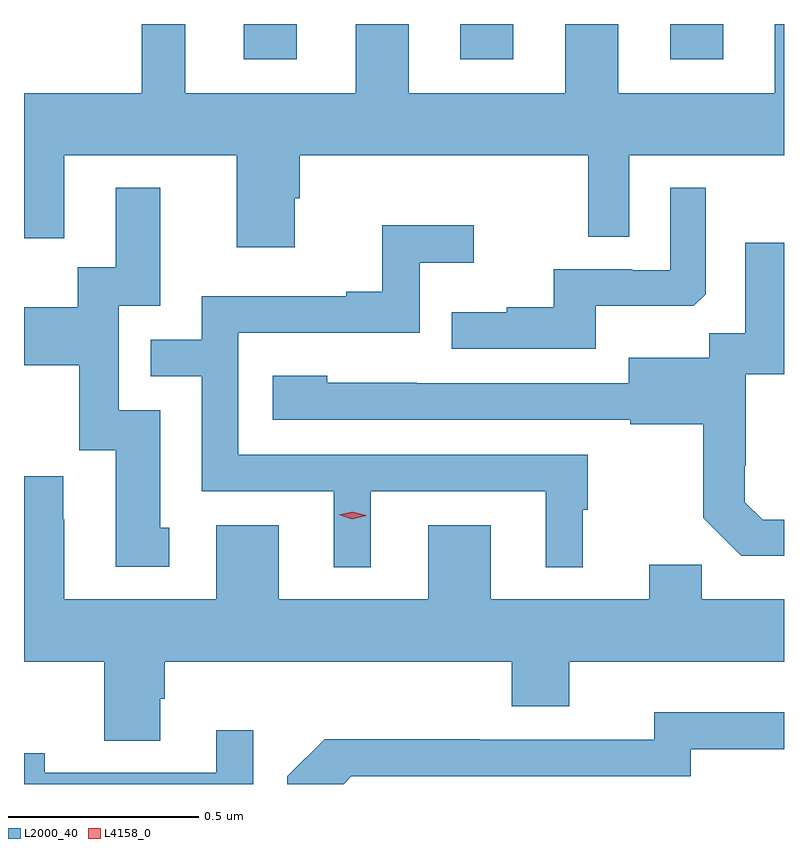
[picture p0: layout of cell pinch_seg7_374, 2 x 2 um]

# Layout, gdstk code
import gdstk
lib = gdstk.Library(unit=1e-6, precision=1e-09)
def R(c, l, rs):  # rectangles x0, y0, x1, y1
    for r in rs: c.add(gdstk.rectangle(r[:2], r[2:], *l))
def P(c, l, *ps):  # polygons
    for p in ps: c.add(gdstk.Polygon(p, *l))
L2000_40 = (2000, 40)
L4158_0 = (4158, 0)

pinch_seg7_374 = lib.new_cell('pinch_seg7_374')
R(pinch_seg7_374, L2000_40, [(383.657,1019.517,383.797,1019.61), (384.227,1019.517,384.367,1019.61), (384.779,1019.517,384.919,1019.61)])
P(pinch_seg7_374, L2000_40, [(383.791,1019.151),(383.804,1019.151),(383.804,1019.264),(384.564,1019.264),(384.564,1019.05),(384.672,1019.05),(384.672,1019.264),(385.079,1019.264),(385.079,1019.61),(385.055,1019.61),(385.055,1019.428),(384.643,1019.428),(384.643,1019.61),(384.503,1019.61),(384.503,1019.428),(384.091,1019.428),(384.091,1019.61),(383.952,1019.61),(383.952,1019.428),(383.503,1019.428),(383.503,1019.61),(383.389,1019.61),(383.389,1019.428),(383.079,1019.428),(383.079,1019.046),(383.185,1019.046),(383.185,1019.264),(383.639,1019.264),(383.639,1019.022),(383.791,1019.022)],
  [(384.583,1018.868),(384.841,1018.868),(384.873,1018.899),(384.873,1019.179),(384.78,1019.179),(384.78,1018.962),(384.68,1018.962),(384.68,1018.965),(384.473,1018.965),(384.473,1018.864),(384.349,1018.864),(384.349,1018.852),(384.205,1018.852),(384.205,1018.755),(384.583,1018.755)],
  [(383.461,1018.284),(383.437,1018.284),(383.437,1018.593),(383.328,1018.593),(383.328,1018.869),(383.437,1018.869),(383.437,1019.179),(383.321,1019.179),(383.321,1018.97),(383.22,1018.97),(383.22,1018.864),(383.079,1018.864),(383.079,1018.712),(383.225,1018.712),(383.225,1018.488),(383.321,1018.488),(383.321,1018.182),(383.461,1018.182)],
  [(383.992,1018.38),(384.452,1018.38),(384.452,1018.181),(384.55,1018.181),(384.55,1018.332),(384.562,1018.332),(384.562,1018.476),(383.643,1018.476),(383.643,1018.797),(384.12,1018.797),(384.12,1018.982),(384.262,1018.982),(384.262,1019.081),(384.022,1019.081),(384.022,1018.906),(383.927,1018.906),(383.927,1018.893),(383.547,1018.893),(383.547,1018.779),(383.413,1018.779),(383.413,1018.683),(383.547,1018.683),(383.547,1018.38),(383.894,1018.38),(383.894,1018.181),(383.992,1018.181)],
  [(385.079,1018.305),(385.023,1018.305),(384.976,1018.352),(384.976,1018.447),(384.978,1018.447),(384.978,1018.688),(385.079,1018.688),(385.079,1019.035),(384.977,1019.035),(384.977,1018.796),(384.882,1018.796),(384.882,1018.732),(384.671,1018.732),(384.671,1018.665),(384.113,1018.665),(384.113,1018.666),(383.877,1018.666),(383.877,1018.684),(383.733,1018.684),(383.733,1018.569),(384.675,1018.569),(384.675,1018.557),(384.867,1018.557),(384.867,1018.311),(384.967,1018.211),(385.079,1018.211)],
  [(383.437,1017.834),(383.45,1017.834),(383.45,1017.932),(384.362,1017.932),(384.362,1017.815),(384.514,1017.815),(384.514,1017.932),(385.079,1017.932),(385.079,1018.096),(384.863,1018.096),(384.863,1018.187),(384.725,1018.187),(384.725,1018.096),(384.307,1018.096),(384.307,1018.291),(384.143,1018.291),(384.143,1018.096),(383.749,1018.096),(383.749,1018.291),(383.585,1018.291),(383.585,1018.096),(383.185,1018.096),(383.185,1018.307),(383.182,1018.307),(383.182,1018.42),(383.079,1018.42),(383.079,1017.932),(383.29,1017.932),(383.29,1017.724),(383.437,1017.724)],
  [(383.94,1017.63),(384.834,1017.63),(384.834,1017.702),(385.079,1017.702),(385.079,1017.799),(384.738,1017.799),(384.738,1017.726),(384.278,1017.726),(384.278,1017.728),(383.87,1017.728),(383.772,1017.63),(383.772,1017.61),(383.92,1017.61)],
  [(383.682,1017.751),(383.585,1017.751),(383.585,1017.639),(383.134,1017.639),(383.134,1017.691),(383.079,1017.691),(383.079,1017.61),(383.682,1017.61)])
P(pinch_seg7_374, L4158_0, [(383.943,1018.307),(383.907,1018.318),(383.907,1018.318),(383.907,1018.318),(383.943,1018.327),(383.979,1018.317),(383.979,1018.317),(383.979,1018.316)])

lib.write_gds('pinch_seg7_374.gds')
